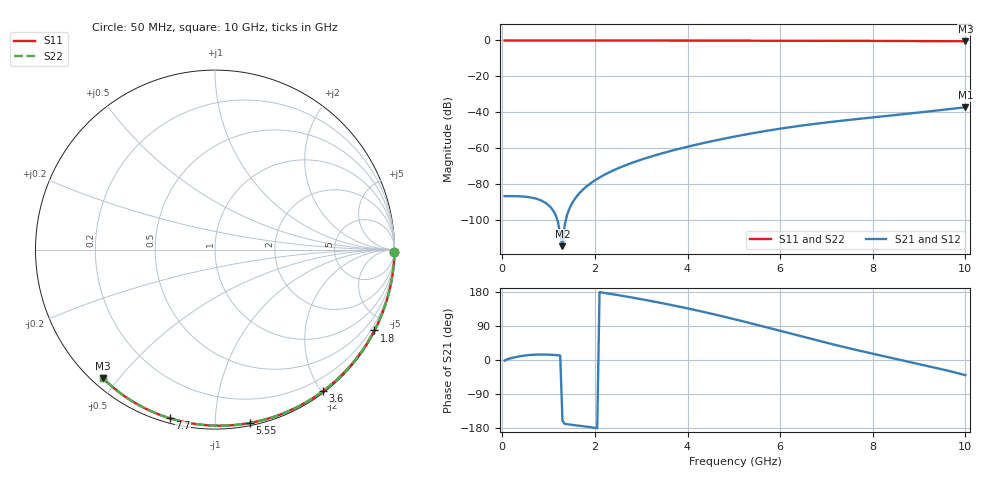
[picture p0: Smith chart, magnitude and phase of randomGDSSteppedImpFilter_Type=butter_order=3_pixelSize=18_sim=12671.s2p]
! freq	dB(S11)	phase(S11)	dB(S12)	phase(S12)
!  dB(S21)	phase(S21)	dB(S22)	phase(S22)
!S-par simulation data
#  GHz  S  DB  R 50
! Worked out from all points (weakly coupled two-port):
!   200 points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, 50 MHz to 10 GHz, reference 50 ohm
!   highest |S21| = -37.22 dB at 10 GHz (marker M1); lowest = -114.6 dB at 1.3 GHz (marker M2)
!   lowest |S11| = -0.4 dB at 10 GHz (marker M3), VSWR 39.13, Z = 1.54 - j22.7 ohm
!   |S11| at or under -10 dB: nowhere
!   |S22| runs from -0.4 to 0.0 dB; largest |S21 - S12| = 0
!   S11 on the Smith chart (normalised r, x): 50 MHz: open; 1.8 GHz: 0.04, -4.18; 3.6 GHz: 0.02, -2.02; 5.55 GHz: 0.02, -1.22; 7.7 GHz: 0.02, -0.77; 10 GHz: 0.03, -0.45
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0.05  -0.00 -0.8  -86.71 -1.5  -86.71 -1.5  -0.00 -0.8
0.65  -0.01 -9.8  -87.62 13.7  -87.62 13.7  -0.01 -9.8
1.3  -0.02 -19.5  -114.60 -160.4  -114.60 -160.4  -0.02 -19.5
1.75  -0.03 -26.2  -82.90 -174.7  -82.90 -174.7  -0.03 -26.2
1.8  -0.03 -26.9  -81.75 -175.5  -81.75 -175.5  -0.03 -26.9
1.85  -0.04 -27.6  -80.70 -176.4  -80.70 -176.4  -0.04 -27.6
1.9  -0.04 -28.4  -79.72 -177.2  -79.72 -177.2  -0.04 -28.4
2.05  -0.04 -30.6  -77.12 -180.0  -77.12 -180.0  -0.04 -30.6
2.2  -0.04 -32.7  -74.91 177.2  -74.91 177.2  -0.04 -32.7
2.55  -0.05 -37.8  -70.67 170.2  -70.67 170.2  -0.05 -37.8
2.95  -0.06 -43.5  -66.82 161.6  -66.82 161.6  -0.06 -43.5
3.4  -0.07 -49.8  -63.24 151.2  -63.24 151.2  -0.07 -49.8
3.6  -0.07 -52.6  -61.81 146.4  -61.81 146.4  -0.07 -52.6
4.3  -0.09 -62.2  -57.39 128.2  -57.39 128.2  -0.09 -62.2
5.05  -0.11 -72.1  -53.36 106.6  -53.36 106.6  -0.11 -72.1
5.55  -0.13 -78.6  -51.02 91.2  -51.02 91.2  -0.13 -78.6
6.1  -0.15 -85.5  -48.75 73.7  -48.75 73.7  -0.15 -85.5
6.7  -0.18 -92.9  -46.63 54.8  -46.63 54.8  -0.18 -92.9
7.7  -0.24 -104.9  -43.67 25.0  -43.67 25.0  -0.24 -104.9
8.35  -0.29 -112.5  -41.92 7.0  -41.92 7.0  -0.29 -112.5
9.15  -0.36 -121.7  -39.71 -14.6  -39.71 -14.6  -0.36 -121.7
10  -0.44 -131.2  -37.22 -40.0  -37.22 -40.0  -0.44 -131.2
